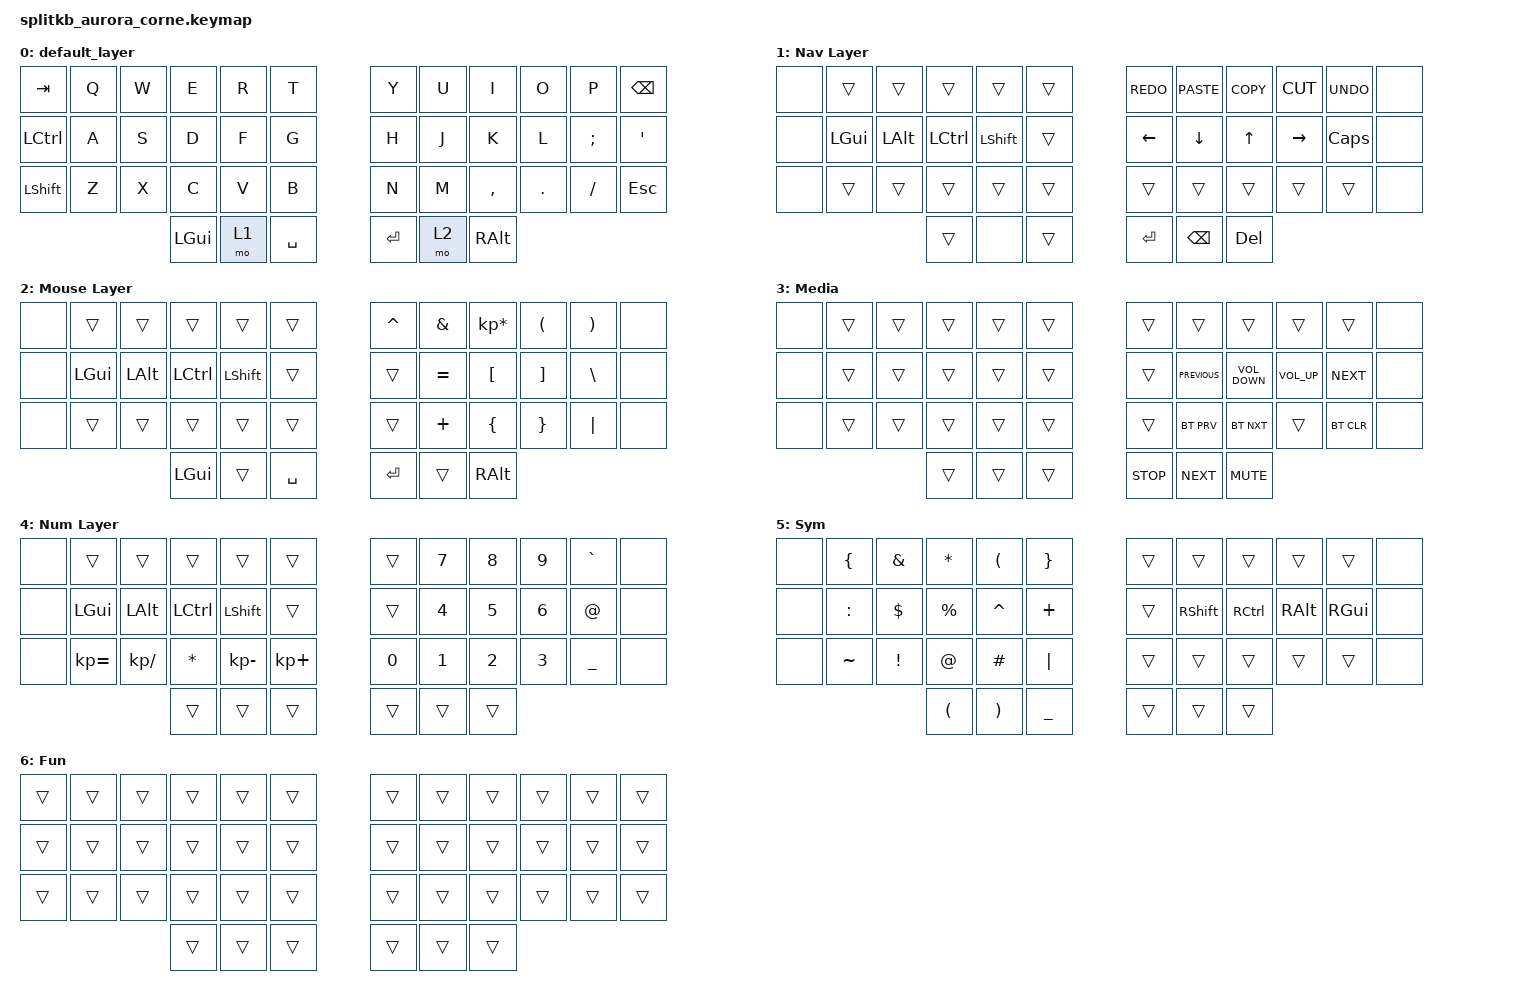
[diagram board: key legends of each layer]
/*
 * Copyright (c) 2020 The ZMK Contributors
 *
 * SPDX-License-Identifier: MIT
 */

#include <behaviors.dtsi>
#include <dt-bindings/zmk/bt.h>
#include <dt-bindings/zmk/keys.h>

/ {
    keymap {
        compatible = "zmk,keymap";

        default_layer {
            // -----------------------------------------------------------------------------------------
            // |  TAB |  Q  |  W  |  E  |  R  |  T  |   |  Y  |  U   |  I  |  O  |  P  | BKSP |
            // | CTRL |  A  |  S  |  D  |  F  |  G  |   |  H  |  J   |  K  |  L  |  ;  |  '   |
            // | SHFT |  Z  |  X  |  C  |  V  |  B  |   |  N  |  M   |  ,  |  .  |  /  | ESC  |
            //                    | GUI | LWR | SPC |   | ENT | RSE  | ALT |

            bindings = <
&kp TAB    &kp Q  &kp W  &kp E     &kp R  &kp T        &kp Y    &kp U  &kp I      &kp O    &kp P     &kp BSPC
&kp LCTRL  &kp A  &kp S  &kp D     &kp F  &kp G        &kp H    &kp J  &kp K      &kp L    &kp SEMI  &kp SQT
&kp LSHFT  &kp Z  &kp X  &kp C     &kp V  &kp B        &kp N    &kp M  &kp COMMA  &kp DOT  &kp FSLH  &kp ESC
                         &kp LGUI  &mo 1  &kp SPACE    &kp RET  &mo 2  &kp RALT
            >;
        };

        nav_layer {
            // -----------------------------------------------------------------------------------------
            // |  TAB |  1  |  2  |  3  |  4  |  5  |   |  6  |  7  |  8  |  9  |  0  | BKSP |
            // | BTCLR| BT1 | BT2 | BT3 | BT4 | BT5 |   | LFT | DWN |  UP | RGT |     |      |
            // | SHFT |     |     |     |     |     |   |     |     |     |     |     |      |
            //                    | GUI |     | SPC |   | ENT |     | ALT |

            bindings = <
&none  &trans    &trans    &trans     &trans      &trans    &kp K_REDO  &kp K_PASTE    &kp K_COPY  &kp K_CUT  &kp K_UNDO    &none
&none  &kp LGUI  &kp LALT  &kp LCTRL  &kp LSHIFT  &trans    &kp LEFT    &kp DOWN       &kp UP      &kp RIGHT  &kp CAPSLOCK  &none
&none  &trans    &trans    &trans     &trans      &trans    &trans      &trans         &trans      &trans     &trans        &none
                           &trans     &none       &trans    &kp RET     &kp BACKSPACE  &kp DELETE
            >;

            label = "Nav Layer";
        };

        mouse_layer {
            // -----------------------------------------------------------------------------------------
            // |  TAB |  !  |  @  |  #  |  $  |  %  |   |  ^  |  &  |  *  |  (  |  )  | BKSP |
            // | CTRL |     |     |     |     |     |   |  -  |  =  |  [  |  ]  |  \  |  `   |
            // | SHFT |     |     |     |     |     |   |  _  |  +  |  {  |  }  | "|" |  ~   |
            //                    | GUI |     | SPC |   | ENT |     | ALT |

            bindings = <
&none  &trans    &trans        &trans     &trans      &trans       &kp CARET  &kp AMPS   &kp KP_MULTIPLY  &kp LPAR  &kp RPAR  &none
&none  &kp LGUI  &kp LEFT_ALT  &kp LCTRL  &kp LSHIFT  &trans       &trans     &kp EQUAL  &kp LBKT         &kp RBKT  &kp BSLH  &none
&none  &trans    &trans        &trans     &trans      &trans       &trans     &kp PLUS   &kp LBRC         &kp RBRC  &kp PIPE  &none
                               &kp LGUI   &trans      &kp SPACE    &kp RET    &trans     &kp RALT
            >;

            label = "Mouse Layer";
        };

        media {
            bindings = <
&none  &trans  &trans  &trans  &trans  &trans    &trans      &trans          &trans             &trans           &trans      &none
&none  &trans  &trans  &trans  &trans  &trans    &trans      &kp K_PREVIOUS  &kp C_VOLUME_DOWN  &kp C_VOLUME_UP  &kp C_NEXT  &none
&none  &trans  &trans  &trans  &trans  &trans    &trans      &bt BT_PRV      &bt BT_NXT         &trans           &bt BT_CLR  &none
                       &trans  &trans  &trans    &kp K_STOP  &kp C_NEXT      &kp K_MUTE
            >;

            label = "Media";
        };

        num_layer {
            bindings = <
&none  &trans        &trans        &trans     &trans        &trans         &trans  &kp N7  &kp N8  &kp N9  &kp GRAVE       &none
&none  &kp LGUI      &kp LEFT_ALT  &kp LCTRL  &kp LSHIFT    &trans         &trans  &kp N4  &kp N5  &kp N6  &kp AT_SIGN     &none
&none  &kp KP_EQUAL  &kp KP_SLASH  &kp ASTRK  &kp KP_MINUS  &kp KP_PLUS    &kp N0  &kp N1  &kp N2  &kp N3  &kp UNDERSCORE  &none
                                   &trans     &trans        &trans         &trans  &trans  &trans
            >;

            label = "Num Layer";
        };

        sym_layer {
            bindings = <
&none  &kp LEFT_BRACE  &kp AMPERSAND  &kp ASTRK             &kp LEFT_PARENTHESIS   &kp RIGHT_BRACE    &trans  &trans      &trans     &trans         &trans         &none
&none  &kp COLON       &kp DOLLAR     &kp PERCENT           &kp CARET              &kp PLUS           &trans  &kp RSHIFT  &kp RCTRL  &kp RIGHT_ALT  &kp RIGHT_GUI  &none
&none  &kp TILDE       &kp EXCL       &kp AT                &kp HASH               &kp PIPE           &trans  &trans      &trans     &trans         &trans         &none
                                      &kp LEFT_PARENTHESIS  &kp RIGHT_PARENTHESIS  &kp UNDER          &trans  &trans      &trans
            >;

            label = "Sym";
        };

        fun_layer {
            bindings = <
&trans  &trans  &trans  &trans  &trans  &trans    &trans  &trans  &trans  &trans  &trans  &trans
&trans  &trans  &trans  &trans  &trans  &trans    &trans  &trans  &trans  &trans  &trans  &trans
&trans  &trans  &trans  &trans  &trans  &trans    &trans  &trans  &trans  &trans  &trans  &trans
                        &trans  &trans  &trans    &trans  &trans  &trans
            >;

            label = "Fun";
        };
    };
};
